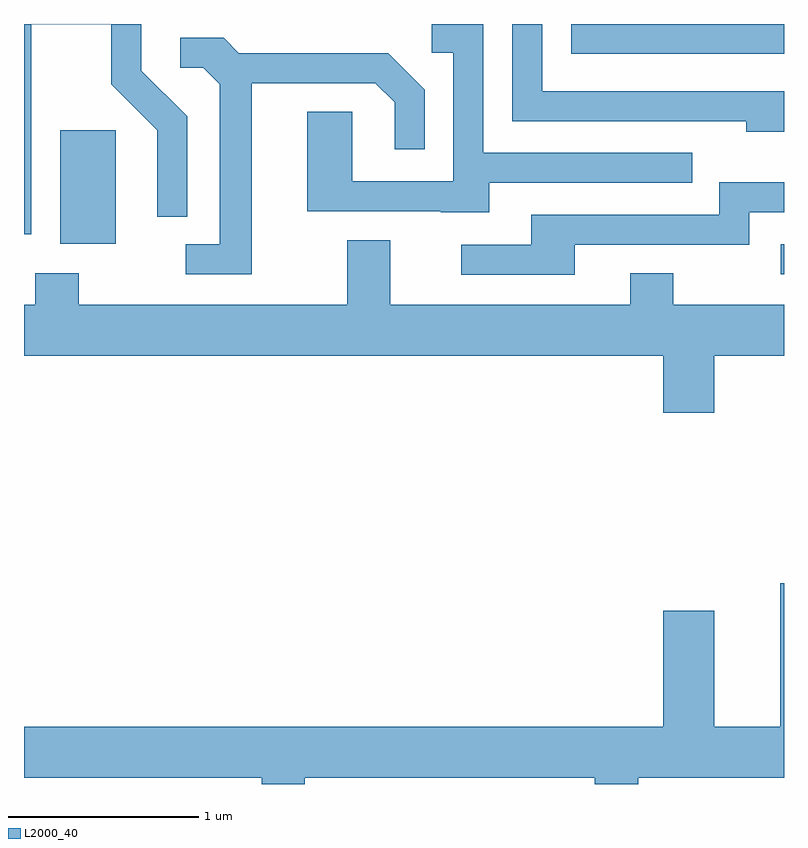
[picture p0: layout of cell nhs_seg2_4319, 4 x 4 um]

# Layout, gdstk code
import gdstk
lib = gdstk.Library(unit=1e-6, precision=1e-09)
def R(c, l, rs):  # rectangles x0, y0, x1, y1
    for r in rs: c.add(gdstk.rectangle(r[:2], r[2:], *l))
def P(c, l, *ps):  # polygons
    for p in ps: c.add(gdstk.Polygon(p, *l))
L2000_40 = (2000, 40)

nhs_seg2_4319 = lib.new_cell('nhs_seg2_4319')
R(nhs_seg2_4319, L2000_40, [(315.593,1086.486,315.611,1086.644), (311.801,1086.646,312.094,1087.244), (314.491,1087.646,315.611,1087.802)])
P(nhs_seg2_4319, L2000_40, [(315.611,1087.449),(314.339,1087.449),(314.339,1087.802),(314.181,1087.802),(314.181,1087.291),(315.411,1087.291),(315.411,1087.236),(315.611,1087.236)],
  [(313.523,1087.802),(312.983,1087.802),(312.984,1087.801),(313.522,1087.801)],
  [(311.649,1087.801),(312.071,1087.801),(312.071,1087.484),(312.311,1087.244),(312.311,1086.788),(312.469,1086.788),(312.469,1087.317),(312.229,1087.557),(312.229,1087.802),(311.611,1087.802),(311.611,1086.696),(311.649,1086.696)],
  [(314.059,1086.966),(315.128,1086.966),(315.128,1087.124),(314.029,1087.124),(314.029,1087.802),(313.758,1087.802),(313.758,1087.651),(313.871,1087.651),(313.871,1086.974),(313.339,1086.974),(313.339,1087.339),(313.101,1087.339),(313.101,1086.816),(313.805,1086.816),(313.805,1086.811),(314.059,1086.811)],
  [(312.809,1087.491),(313.459,1087.491),(313.561,1087.389),(313.561,1087.143),(313.719,1087.143),(313.719,1087.457),(313.527,1087.649),(312.742,1087.649),(312.662,1087.729),(312.433,1087.729),(312.433,1087.571),(312.554,1087.571),(312.641,1087.484),(312.641,1086.644),(312.463,1086.644),(312.463,1086.486),(312.809,1086.486)],
  [(314.509,1086.641),(315.429,1086.641),(315.429,1086.811),(315.611,1086.811),(315.611,1086.969),(315.271,1086.969),(315.271,1086.799),(314.281,1086.799),(314.281,1086.639),(313.913,1086.639),(313.913,1086.481),(314.509,1086.481)],
  [(315.244,1086.056),(315.611,1086.056),(315.611,1086.324),(315.029,1086.324),(315.029,1086.489),(314.801,1086.489),(314.801,1086.324),(313.539,1086.324),(313.539,1086.664),(313.311,1086.664),(313.311,1086.324),(311.899,1086.324),(311.899,1086.489),(311.671,1086.489),(311.671,1086.324),(311.611,1086.324),(311.611,1086.056),(314.976,1086.056),(314.976,1085.756),(315.244,1085.756)],
  [(313.089,1083.836),(314.616,1083.836),(314.616,1083.802),(314.844,1083.802),(314.844,1083.836),(315.611,1083.836),(315.611,1084.859),(315.591,1084.859),(315.591,1084.104),(315.244,1084.104),(315.244,1084.714),(314.976,1084.714),(314.976,1084.104),(311.611,1084.104),(311.611,1083.836),(312.861,1083.836),(312.861,1083.802),(313.089,1083.802)])

lib.write_gds('nhs_seg2_4319.gds')
